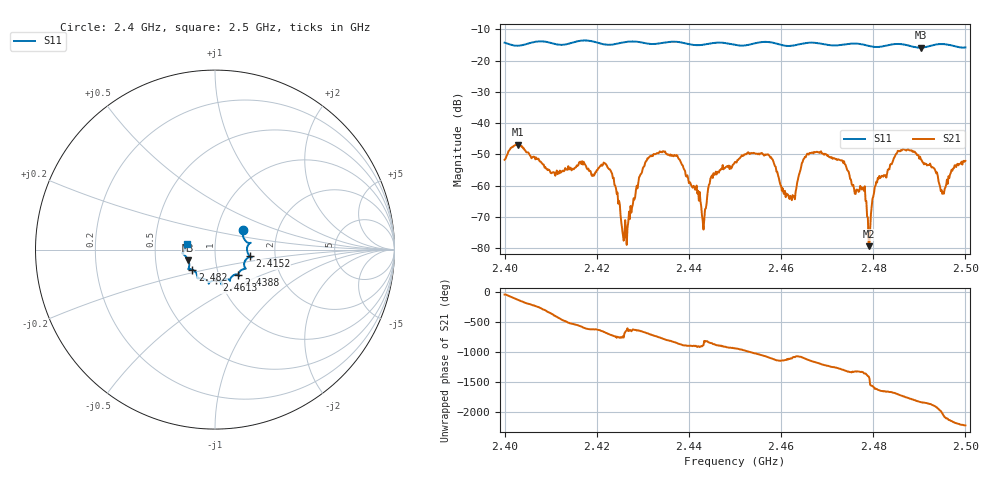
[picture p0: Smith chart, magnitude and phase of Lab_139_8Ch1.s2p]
# Hz S RI R 50
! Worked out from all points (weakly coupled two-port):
!   601 points, 2.4 GHz to 2.5 GHz, reference 50 ohm
!   highest |S21| = -46.86 dB at 2.4028 GHz (marker M1); lowest = -79.3 dB at 2.479 GHz (marker M2)
!   lowest |S11| = -15.9 dB at 2.4903 GHz (marker M3), VSWR 1.38, Z = 36.8 - j4.44 ohm
!   |S11| at or under -10 dB: start of sweep to end of sweep
!   S12 and S22 are empty: the file has one direction only
!   S11 on the Smith chart (normalised r, x): 2.4 GHz: 1.33, +0.31; 2.4152 GHz: 1.48, -0.11; 2.4388 GHz: 1.24, -0.36; 2.4613 GHz: 0.96, -0.34; 2.482 GHz: 0.76, -0.17; 2.5 GHz: 0.72, +0.05
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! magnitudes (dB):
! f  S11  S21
! 2.4 GHz  -14.3  -51.7
! 2.4028 GHz  -15.3  -46.9
! 2.4152 GHz  -14.1  -54.4
! 2.4167 GHz  -13.6  -53.1
! 2.4228 GHz  -15.0  -54.8
! 2.426 GHz  -14.1  -76.5
! 2.4333 GHz  -14.6  -49.7
! 2.4388 GHz  -14.4  -54.4
! 2.4432 GHz  -14.9  -74.0
! 2.4452 GHz  -14.4  -57.5
! 2.45 GHz  -15.0  -52.4
! 2.4573 GHz  -14.1  -50.2
! 2.4613 GHz  -15.3  -62.9
! 2.4667 GHz  -14.3  -49.4
! 2.4737 GHz  -14.8  -52.2
! 2.4777 GHz  -14.8  -61.1
! 2.479 GHz  -15.3  -79.3
! 2.482 GHz  -15.5  -56.9
! 2.4833 GHz  -15.0  -54.8
! 2.4903 GHz  -15.9  -51.6
! 2.4952 GHz  -14.7  -62.1
! 2.5 GHz  -15.8  -52.1
